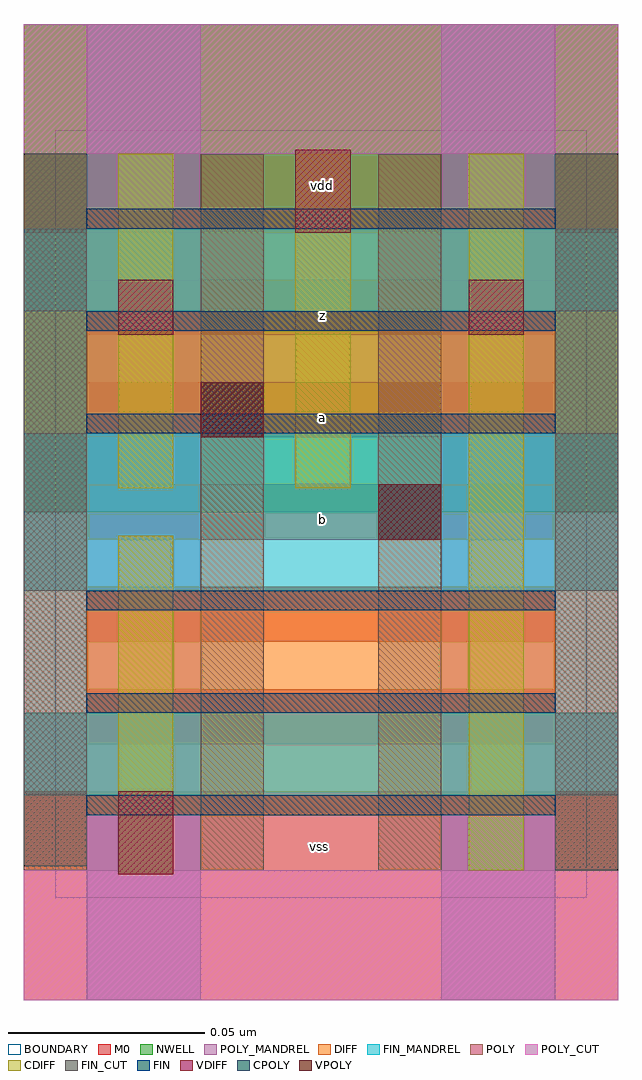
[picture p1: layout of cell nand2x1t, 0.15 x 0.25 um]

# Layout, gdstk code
import gdstk
lib = gdstk.Library(unit=1e-6, precision=1e-09)
def R(c, l, rs):  # rectangles x0, y0, x1, y1
    for r in rs: c.add(gdstk.rectangle(r[:2], r[2:], *l))
def A(c, l, x, y, w, h, nx, ny, dx, dy):  # array of equal rectangles
    R(c, l, [(x+i*dx, y+j*dy, x+i*dx+w, y+j*dy+h) for i in range(nx) for j in range(ny)])
BOUNDARY = (1, 0)
NWELL = (5, 1)
DIFF = (7, 7)
FIN = (7, 8)
FIN_MANDREL = (7, 10)
FIN_CUT = (7, 50)
POLY = (9, 7)
POLY_MANDREL = (9, 10)
POLY_CUT = (9, 50)
CPOLY = (9, 100)
VPOLY = (9, 135)
VDIFF = (10, 0)
CDIFF = (10, 1)
M0 = (30, 0)

nand2x1t = lib.new_cell('nand2x1t')
R(nand2x1t, BOUNDARY, [(-0.008,-0.013,0.082,0.182), (-0.008,-0.013,0.127,0.182)])
R(nand2x1t, NWELL, [(-0.016,0.085,0.135,0.209)])
R(nand2x1t, DIFF, [(0,0.008,0.119,0.065), (0,0.105,0.119,0.162)])
A(nand2x1t, FIN, 0, 0.008, 0.119, 0.005, 1, 3, 0, 0.026)
A(nand2x1t, FIN, 0, 0.105, 0.119, 0.005, 1, 3, 0, 0.026)
R(nand2x1t, FIN_MANDREL, [(-0.016,0.013,0.135,0.034), (-0.016,0.065,0.135,0.105), (-0.016,0.136,0.135,0.157)])
R(nand2x1t, FIN_CUT, [(0.119,-0.006,0.135,0.176), (-0.016,-0.005,0,0.176)])
A(nand2x1t, POLY, -0.016, -0.006, 0.016, 0.182, 4, 1, 0.045, 0)
R(nand2x1t, POLY_MANDREL, [(0,-0.039,0.029,0.209), (0.09,-0.039,0.119,0.209)])
R(nand2x1t, POLY_CUT, [(-0.016,-0.039,0.135,-0.006), (-0.016,0.176,0.135,0.209)])
R(nand2x1t, CPOLY, [(0.074,0.078,0.09,0.092), (0.029,0.104,0.045,0.118)])
R(nand2x1t, VPOLY, [(0.074,0.078,0.09,0.092), (0.029,0.104,0.045,0.118)])
R(nand2x1t, VDIFF, [(0.008,-0.007,0.022,0.014), (0.008,0.13,0.022,0.144), (0.097,0.13,0.111,0.144), (0.053,0.156,0.067,0.177)])
R(nand2x1t, CDIFF, [(0.008,-0.007,0.022,0.079), (0.097,-0.006,0.111,0.176), (0.008,0.091,0.022,0.176), (0.053,0.091,0.067,0.176)])
A(nand2x1t, M0, 0, 0.026, 0.119, 0.014, 1, 5, 0, 0.026)
R(nand2x1t, M0, [(-0.016,-0.039,0.135,0.014), (-0.016,0.156,0.135,0.209)])
nand2x1t.add(gdstk.Label('a', (0.06,0.109), layer=30, texttype=12))
nand2x1t.add(gdstk.Label('b', (0.06,0.083), layer=30, texttype=12))
nand2x1t.add(gdstk.Label('z', (0.06,0.135), layer=30, texttype=12))
nand2x1t.add(gdstk.Label('vdd', (0.06,0.168), layer=30, texttype=12))
nand2x1t.add(gdstk.Label('vss', (0.059,0), layer=30, texttype=12))

lib.write_gds('nand2x1t.gds')
